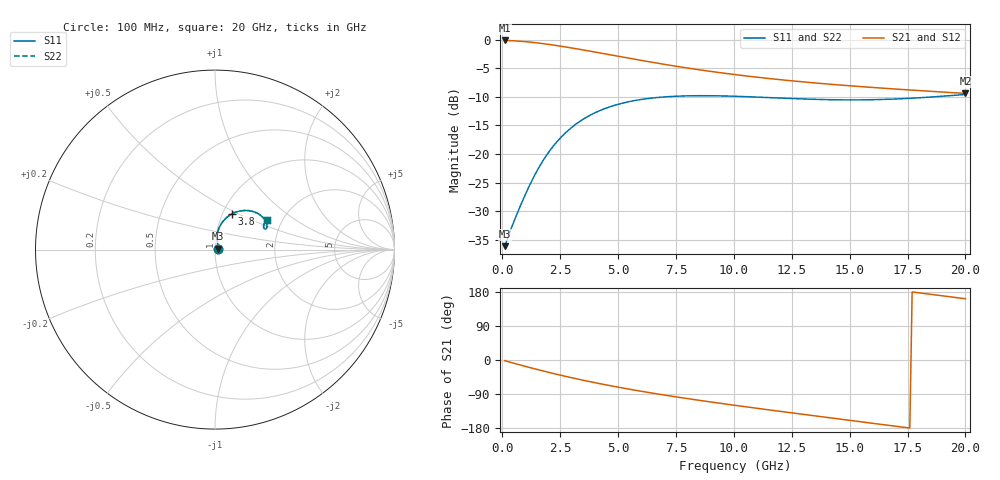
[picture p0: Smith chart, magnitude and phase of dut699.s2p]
! Touchstone file exported from HFSS 2024.1.0
!  File:  C:/UserFiles/LocalFiles/RDL_TSV_Batchsim/temp_RDL_TSV_699_1779820997.aedt
!  Generated:  02:57:01 AM May 27, 2026
!  Design:  RDL_TSV
!  Project:  temp_RDL_TSV_699_1779820997
!  Setup:  Setup1
!  Solution:  Sweep
! Variables:
!  dtsv = 7um
!  hbump = 3um
!  htsv = 83.62um
!  ldown = 602.68um
!  lrdl = 229.77um
!  p = 40
!  p1 = 58.73um
!  rhole = 10um
!  subl = 2727.12um
!  t = 450um
!  tdown = 2.92um
!  trdl = 4.08um
!  viad = 10um
!  wdown = 23.96um
!  wrdl = 17.86um
!  xbump = 18um
# GHz S MA R 50.000000
! Terminal data exported
! Port[1] = TM1_1_T1
! Port[2] = TM1_4_T1
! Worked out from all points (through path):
!   200 points, 100 MHz to 20 GHz, reference 50 ohm
!   highest |S21| = -0.13 dB at 100 MHz (marker M1); lowest = -9.4 dB at 20 GHz (marker M2)
!   group delay of S21, straight-line fit = 25.8 ps
!   lowest |S11| = -36.1 dB at 100 MHz (marker M3), VSWR 1.03, Z = 51.5 + j0.464 ohm
!   |S11| at or under -10 dB: start of sweep to 7.014 GHz; 10.8 GHz to 18.6 GHz (7.799 GHz wide, 53.1 % of centre)
!   |S22| runs from -36.1 to -9.6 dB; largest |S21 - S12| = 3.6e-14
!   S11 on the Smith chart (normalised r, x): 100 MHz: 1.03, +0.01; 3.8 GHz: 1.10, +0.46; 20 GHz: 1.67, +0.61
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0.1  0.01567 16.7  0.9847 -1.8  0.9847 -1.8  0.01567 16.7
! Gamma 0 0 0 0
! Port Impedance 50 0 50 0
0.5  0.02569 53.1  0.9775 -8.6  0.9775 -8.6  0.02569 53.1
1  0.04459 73.2  0.9614 -16.9  0.9614 -16.9  0.04459 73.2
1.4  0.06556 79.7  0.9434 -23.3  0.9434 -23.3  0.06556 79.7
1.7  0.08389 81.1  0.9276 -28.0  0.9276 -28.0  0.0839 81.1
2.1  0.1104 80.2  0.9042 -34.1  0.9042 -34.1  0.1104 80.3
2.5  0.1378 77.6  0.8792 -39.9  0.8792 -39.9  0.1378 77.6
3  0.1712 73.0  0.8465 -46.9  0.8465 -46.9  0.1713 73.0
3.5  0.2022 67.9  0.8133 -53.5  0.8133 -53.5  0.2022 68.0
3.8  0.2191 64.8  0.7934 -57.4  0.7934 -57.4  0.2191 64.8
4.4  0.2486 58.8  0.7544 -64.7  0.7544 -64.7  0.2487 58.8
5.1  0.2758 52.2  0.7109 -72.8  0.7109 -72.8  0.276 52.2
5.9  0.2981 45.6  0.6648 -81.5  0.6648 -81.5  0.2983 45.6
6.8  0.3137 39.3  0.6184 -90.6  0.6184 -90.6  0.3139 39.3
8.4  0.3239 30.8  0.5497 -105.5  0.5497 -105.5  0.3241 30.8
10.1  0.32 25.2  0.4938 -120.1  0.4938 -120.1  0.3203 25.2
11.7  0.3108 22.6  0.4536 -133.1  0.4536 -133.1  0.3111 22.6
13.4  0.3014 22.3  0.4204 -146.6  0.4204 -146.6  0.3018 22.3
15  0.2976 23.7  0.3955 -159.2  0.3955 -159.2  0.2979 23.7
16.7  0.3015 26.1  0.3736 -172.5  0.3736 -172.5  0.3019 26.1
18.3  0.3133 28.1  0.3559 174.9  0.3559 174.9  0.3136 28.1
20  0.3322 29.4  0.3392 161.6  0.3392 161.6  0.3325 29.4
